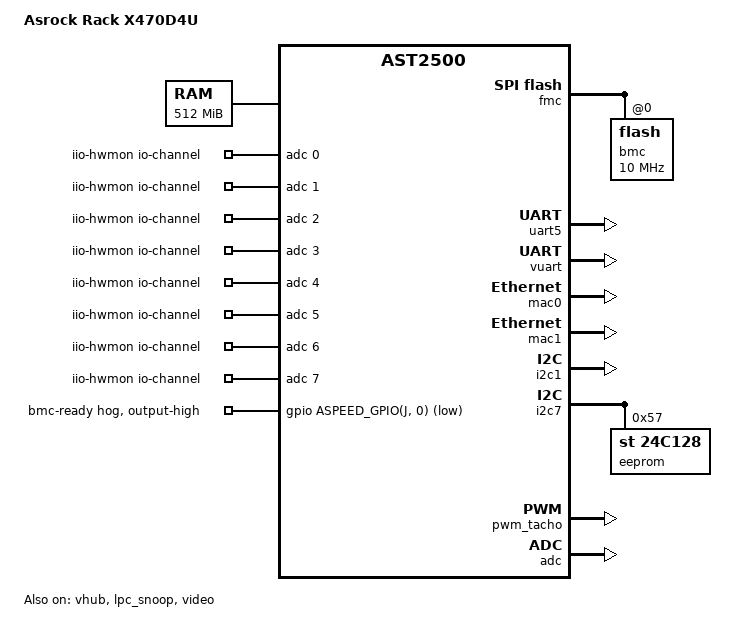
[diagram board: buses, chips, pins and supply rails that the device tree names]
// SPDX-License-Identifier: GPL-2.0+
/dts-v1/;

#include "aspeed-g5.dtsi"
#include <dt-bindings/gpio/aspeed-gpio.h>

/ {
	model = "Asrock Rack X470D4U";
	compatible = "aspeed,ast2500";

	chosen {
		stdout-path = &uart5;
		bootargs = "console=ttyS4,115200 earlyprintk";
	};

	memory@80000000 {
		reg = <0x80000000 0x20000000>;
	};

	reserved-memory {
		#address-cells = <1>;
		#size-cells = <1>;
		ranges;

		video_engine_memory: jpegbuffer {
			size = <0x02000000>;    /* 32M */
			alignment = <0x01000000>;
			compatible = "shared-dma-pool";
			reusable;
		};
	};

	iio-hwmon {
		compatible = "iio-hwmon";
			io-channels = <&adc 0>, <&adc 1>, <&adc 2>, <&adc 3>,
			<&adc 4>, <&adc 5>, <&adc 6>, <&adc 7>,
			<&adc 8>, <&adc 9>, <&adc 10>, <&adc 11>,
			<&adc 12>;
	};
};

&gpio {
	status = "okay";
	gpio-line-names =
		/*  A */ "", "", "", "", "", "", "", "",
		/*  B */ "FM_BIOS_POST_CMPLT_N", "", "", "", "", "PS_PWROK", "", "",
		/*  C */ "", "", "", "", "", "", "", "",
		/*  D */ "BMC_PSIN", "BMC_PSOUT", "BMC_RESETCON", "RESETCON", "", "", "", "",
		/*  E */ "", "", "", "", "", "", "", "",
		/*  F */ "", "", "", "", "", "", "", "",
		/*  G */ "HWM_BAT_EN", "", "", "", "", "", "", "",
		/*  H */ "", "", "", "", "", "", "", "",
		/*  I */ "", "", "", "", "", "", "", "",
		/*  J */ "BMC_READY", "", "", "", "", "", "", "",
		/*  K */ "", "", "", "", "", "", "", "",
		/*  L */ "", "", "", "", "", "", "", "",
		/*  M */ "", "", "", "", "", "", "", "",
		/*  N */ "", "", "", "", "", "", "", "",
		/*  O */ "", "", "", "", "", "", "", "",
		/*  P */ "", "", "", "", "", "", "", "",
		/*  Q */ "", "", "", "", "", "", "", "",
		/*  R */ "", "", "", "", "", "", "", "",
		/*  S */ "", "", "", "", "", "", "", "",
		/*  T */ "", "", "", "", "", "", "", "",
		/*  U */ "", "", "", "", "", "", "", "",
		/*  V */ "", "", "", "", "", "", "", "",
		/*  W */ "", "", "", "", "", "", "", "",
		/*  X */ "", "", "", "", "", "", "", "",
		/*  Y */ "", "", "", "", "", "", "", "",
		/*  Z */ "", "", "", "", "", "", "", "",
		/* AA */ "", "", "", "", "", "", "", "",
		/* AB */ "", "", "", "", "", "", "", "",
		/* AC */ "", "", "", "", "", "", "", "";

	/* Assert BMC_READY so BIOS doesn't sit around waiting for it */
	bmc-ready {
		gpio-hog;
		gpios = <ASPEED_GPIO(J, 0) GPIO_ACTIVE_LOW>;
		output-high;
	};
};

&fmc {
	status = "okay";
	flash@0 {
		status = "okay";
		label = "bmc";
		m25p,fast-read;
		spi-max-frequency = <10000000>;
#include "openbmc-flash-layout.dtsi"
	};
};

&uart5 {
	status = "okay";
};

&vuart {
	status = "okay";
};

&mac0 {
	status = "okay";
	pinctrl-names = "default";
	pinctrl-0 = <&pinctrl_rgmii1_default &pinctrl_mdio1_default>;
};

&mac1 {
	status = "okay";
	pinctrl-names = "default";
	pinctrl-0 = <&pinctrl_rmii2_default &pinctrl_mdio2_default>;
	use-ncsi;
};

&i2c1 {
	status = "okay";
};

&i2c7 {
	status = "okay";

	eeprom@57 {
		compatible = "st,24c128", "atmel,24c128";
		reg = <0x57>;
		pagesize = <16>;
	};
};

&vhub {
	status = "okay";
};

&lpc_snoop {
	status = "okay";
	snoop-ports = <0x80>;
};

&video {
	status = "okay";
	memory-region = <&video_engine_memory>;
};

&pwm_tacho {
	status = "okay";
	pinctrl-names = "default";
	pinctrl-0 = <&pinctrl_pwm0_default
		&pinctrl_pwm1_default
		&pinctrl_pwm2_default
		&pinctrl_pwm3_default
		&pinctrl_pwm4_default
		&pinctrl_pwm5_default>;
	fan@0 {
		reg = <0x00>;
		aspeed,fan-tach-ch = /bits/ 8 <0x00>;
	};
	fan@1 {
		reg = <0x01>;
		aspeed,fan-tach-ch = /bits/ 8 <0x01>;
	};
	fan@2 {
		reg = <0x02>;
		aspeed,fan-tach-ch = /bits/ 8 <0x02>;
	};
	fan@3 {
		reg = <0x03>;
		aspeed,fan-tach-ch = /bits/ 8 <0x03>;
	};
	fan@4 {
		reg = <0x04>;
		aspeed,fan-tach-ch = /bits/ 8 <0x04>;
	};
	fan@5 {
		reg = <0x05>;
		aspeed,fan-tach-ch = /bits/ 8 <0x05>;
	};
};

&adc {
	status = "okay";
	pinctrl-names = "default";
	pinctrl-0 = <&pinctrl_adc0_default
		&pinctrl_adc1_default
		&pinctrl_adc2_default
		&pinctrl_adc3_default
		&pinctrl_adc4_default
		&pinctrl_adc5_default
		&pinctrl_adc6_default
		&pinctrl_adc7_default
		&pinctrl_adc8_default
		&pinctrl_adc9_default
		&pinctrl_adc10_default
		&pinctrl_adc11_default
		&pinctrl_adc12_default>;
};
